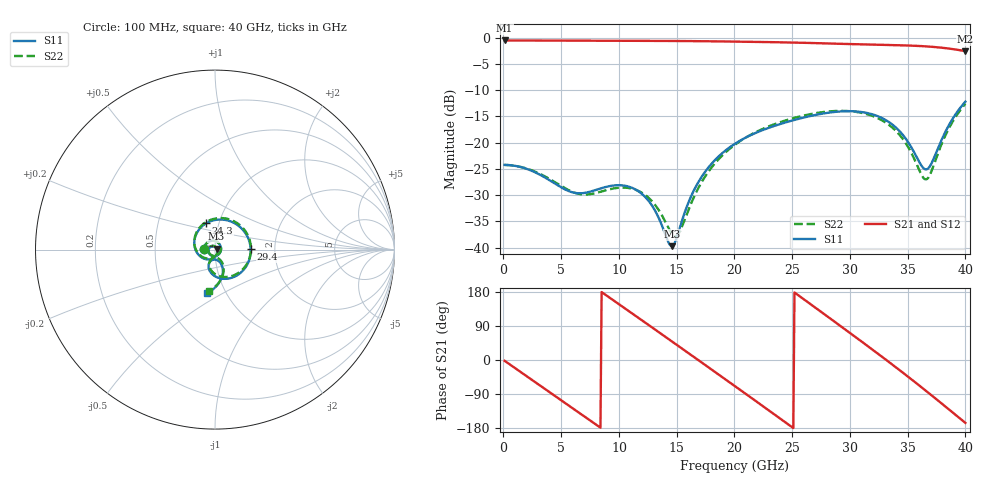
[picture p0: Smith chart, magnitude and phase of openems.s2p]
! C_s8_ap1000: L1→L8, antipad Ø1 on every plane
! stackup: 8-layer 1.6 mm FR-4 (generic)
! ports: 1, 2
! openEMS 0.37.0, staircase, fine mesh (dfine 0.0175 mm), 1331820 cells
# Hz S RI R 50
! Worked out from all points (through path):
!   400 points, 100 MHz to 40 GHz, reference 50 ohm
!   highest |S21| = -0.55 dB at 100 MHz (marker M1); lowest = -2.6 dB at 40 GHz (marker M2)
!   group delay of S21, straight-line fit = 61 ps
!   lowest |S11| = -39.7 dB at 14.6 GHz (marker M3), VSWR 1.02, Z = 50.9 + j0.56 ohm
!   |S11| at or under -10 dB: start of sweep to end of sweep
!   |S22| runs from -37.8 to -12.6 dB; largest |S21 - S12| = 0.0036
!   S11 on the Smith chart (normalised r, x): 100 MHz: 0.88, +0.00; 24.3 GHz: 0.87, +0.26; 29.4 GHz: 1.50, +0.01; 40 GHz: 0.82, -0.42
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1e8  -0.0614 0.00258  0.9377 -0.0349  0.9377 -0.0349  -0.0613 0.00261
1.7e9  -0.0433 0.0383  0.757 -0.5536  0.7569 -0.5536  -0.0432 0.0388
3.6e9  0.0025 0.0465  0.2172 -0.9108  0.2172 -0.9108  0.00254 0.0476
5.1e9  0.0296 0.0222  -0.2962 -0.8867  -0.2961 -0.8867  0.0297 0.0239
6.8e9  0.0284 -0.0169  -0.7606 -0.5406  -0.7606 -0.5407  0.0286 -0.0148
8.3e9  0.00203 -0.0363  -0.9302 -0.0571  -0.9304 -0.0571  0.00242 -0.0338
9.7e9  -0.0254 -0.0299  -0.8349 0.4125  -0.835 0.4126  -0.025 -0.0271
1.16e10  -0.0349 0.00192  -0.3658 0.8557  -0.3657 0.8559  -0.0347 0.00523
1.34e10  -0.00972 0.0172  0.2474 0.896  0.2475 0.8961  -0.00954 0.0212
1.46e10  0.00877 0.0055  0.6119 0.698  0.612 0.6982  0.00909 0.01
1.73e10  -0.0104 -0.0487  0.9104 -0.1523  0.911 -0.1524  -0.00948 -0.0436
2.01e10  -0.0954 -0.0245  0.3103 -0.861  0.31 -0.8617  -0.0946 -0.0195
2.21e10  -0.1136 0.0574  -0.366 -0.8315  -0.3668 -0.8314  -0.1137 0.0627
2.43e10  -0.0495 0.1462  -0.8557 -0.2781  -0.8555 -0.2776  -0.0508 0.1529
2.67e10  0.0925 0.155  -0.7268 0.5091  -0.7269 0.5084  0.0907 0.1647
2.94e10  0.1988 0.00392  0.0776 0.8673  0.0761 0.8682  0.2 0.0168
3.16e10  0.13 -0.139  0.6994 0.4972  0.7006 0.4993  0.1344 -0.127
3.34e10  0.0149 -0.1558  0.8452 -0.0854  0.8476 -0.0856  0.0195 -0.1457
3.52e10  -0.036 -0.0878  0.5615 -0.6233  0.5625 -0.625  -0.0328 -0.0781
3.67e10  0.00243 -0.056  0.084 -0.8186  0.0841 -0.8203  0.00529 -0.045
3.82e10  0.0438 -0.1143  -0.4103 -0.6808  -0.4112 -0.683  0.0483 -0.102
4e10  -0.0425 -0.2419  -0.7208 -0.1798  -0.7243 -0.1802  -0.0351 -0.2319
